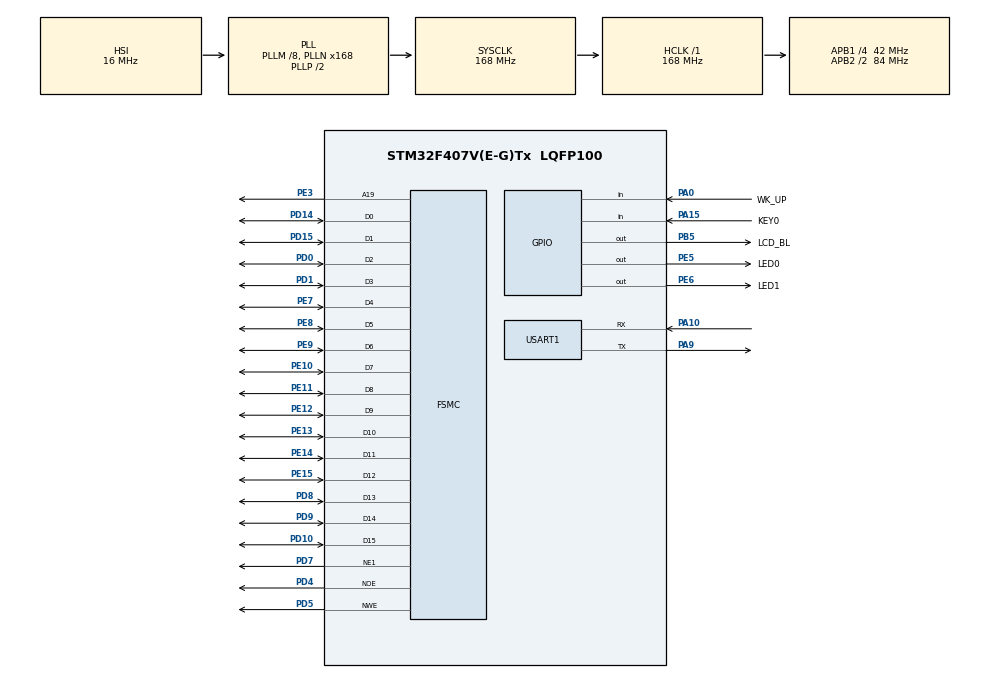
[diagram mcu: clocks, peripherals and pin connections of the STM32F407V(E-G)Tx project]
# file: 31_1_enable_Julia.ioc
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FSMC.AddressSetupTime1=15
FSMC.BusTurnAroundDuration1=0
FSMC.DataSetupTime1=60
FSMC.ExtendedAddressSetupTime1=9
FSMC.ExtendedDataSetupTime1=9
FSMC.ExtendedMode1=FSMC_EXTENDED_MODE_ENABLE
Mcu.Family=STM32F4
Mcu.Name=STM32F407V(E-G)Tx
Mcu.Package=LQFP100
NVIC.PriorityGroup=NVIC_PRIORITYGROUP_2
NVIC.TIM6_DAC_IRQn=true\:2\:1\:true\:false\:true\:true\:true\:true
NVIC.USART1_IRQn=true\:2\:2\:true\:false\:true\:true\:true\:true
PA0-WKUP.GPIO_Label=WK_UP
PA0-WKUP.GPIO_PuPd=GPIO_PULLDOWN
PA0-WKUP.Signal=GPIO_Input
PA10.Mode=Asynchronous
PA10.Signal=USART1_RX
PA13.Mode=Serial_Wire
PA13.Signal=SYS_JTMS-SWDIO
PA14.Mode=Serial_Wire
PA14.Signal=SYS_JTCK-SWCLK
PA15.GPIO_Label=KEY0
PA15.GPIO_PuPd=GPIO_PULLDOWN
PA15.Signal=GPIO_Input
PA9.Mode=Asynchronous
PA9.Signal=USART1_TX
PB5.GPIO_Label=LCD_BL
PB5.GPIO_PuPd=GPIO_PULLUP
PB5.GPIO_Speed=GPIO_SPEED_FREQ_HIGH
PB5.PinState=GPIO_PIN_SET
PB5.Signal=GPIO_Output
PC14-OSC32_IN.Mode=LSE-External-Oscillator
PC14-OSC32_IN.Signal=RCC_OSC32_IN
PC15-OSC32_OUT.Mode=LSE-External-Oscillator
PC15-OSC32_OUT.Signal=RCC_OSC32_OUT
PD0.Mode=16b-d1
PD0.Signal=FSMC_D2
PD1.Mode=16b-d1
PD1.Signal=FSMC_D3
PD10.Mode=16b-d1
PD10.Signal=FSMC_D15
PD14.Mode=16b-d1
PD14.Signal=FSMC_D0
PD15.Mode=16b-d1
PD15.Signal=FSMC_D1
PD4.Mode=Lcd1
PD4.Signal=FSMC_NOE
PD5.Mode=Lcd1
PD5.Signal=FSMC_NWE
PD7.Mode=NorPsramChipSelect1_1
PD7.Signal=FSMC_NE1
PD8.Mode=16b-d1
PD8.Signal=FSMC_D13
PD9.Mode=16b-d1
PD9.Signal=FSMC_D14
PE10.Mode=16b-d1
PE10.Signal=FSMC_D7
PE11.Mode=16b-d1
PE11.Signal=FSMC_D8
PE12.Mode=16b-d1
PE12.Signal=FSMC_D9
PE13.Mode=16b-d1
PE13.Signal=FSMC_D10
PE14.Mode=16b-d1
PE14.Signal=FSMC_D11
PE15.Mode=16b-d1
PE15.Signal=FSMC_D12
PE3.Mode=A19_1
PE3.Signal=FSMC_A19
PE5.GPIO_Label=LED0
PE5.GPIO_PuPd=GPIO_PULLUP
PE5.GPIO_Speed=GPIO_SPEED_FREQ_HIGH
PE5.PinState=GPIO_PIN_SET
PE5.Signal=GPIO_Output
PE6.GPIO_Label=LED1
PE6.GPIO_PuPd=GPIO_PULLUP
PE6.GPIO_Speed=GPIO_SPEED_FREQ_HIGH
PE6.PinState=GPIO_PIN_SET
PE6.Signal=GPIO_Output
PE7.Mode=16b-d1
PE7.Signal=FSMC_D4
PE8.Mode=16b-d1
PE8.Signal=FSMC_D5
PE9.Mode=16b-d1
PE9.Signal=FSMC_D6
PH0-OSC_IN.Mode=HSE-External-Oscillator
PH0-OSC_IN.Signal=RCC_OSC_IN
PH1-OSC_OUT.Mode=HSE-External-Oscillator
PH1-OSC_OUT.Signal=RCC_OSC_OUT
ProjectManager.HeapSize=0x200
ProjectManager.StackSize=0x400
ProjectManager.TargetToolchain=STM32CubeIDE
RCC.48MHZClocksFreq_Value=84000000
RCC.AHBFreq_Value=168000000
RCC.APB1CLKDivider=RCC_HCLK_DIV4
RCC.APB1Freq_Value=42000000
RCC.APB1TimFreq_Value=84000000
RCC.APB2CLKDivider=RCC_HCLK_DIV2
RCC.APB2Freq_Value=84000000
RCC.APB2TimFreq_Value=168000000
RCC.CortexFreq_Value=168000000
RCC.HCLKFreq_Value=168000000
RCC.HSE_VALUE=25000000
RCC.HSI_VALUE=16000000
RCC.PLLM=8
RCC.PLLN=168
RCC.SYSCLKFreq_VALUE=168000000
RCC.SYSCLKSource=RCC_SYSCLKSOURCE_PLLCLK
RCC.VCOOutputFreq_Value=336000000
TIM6.AutoReloadPreload=TIM_AUTORELOAD_PRELOAD_ENABLE
TIM6.Prescaler=8400 - 1
USART1.VirtualMode=VM_ASYNC
VP_TIM6_VS_ClockSourceINT.Mode=Enable_Timer
board=custom

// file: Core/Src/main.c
/**
 ****************************************************************************************************
 * @file        main.c
 * @author      ALIENTEK
 * @brief       enable_julia code
 * @license     Copyright (C) 2012-2024, ALIENTEK
 ****************************************************************************************************
 * @attention
 *
 * platform     : ALIENTEK M100-STM32F407 board
 * website      : www.alientek.com
 * forum        : www.openedv.com/forum.php
 *
 * change logs  :
 * version      data         notes
 * V1.0         20240409     the first version
 *
 ****************************************************************************************************
 */

 /* USER CODE BEGIN Header */

/* USER CODE END Header */
#include "main.h"
#include "tim.h"
#include "usart.h"
#include "gpio.h"
#include "fsmc.h"

/* USER CODE BEGIN Includes */
#include "../../BSP/LED/led.h"
#include "../../BSP/KEY/key.h"
#include "../../BSP/LCD/lcd.h"
/* USER CODE END Includes */

/* USER CODE BEGIN PD */

/* FPU mode prompt */
#if (__FPU_PRESENT == 1) && (__FPU_USED == 1)
#define FPU_MODE        "FPU ON"
#else
#define FPU_MODE        "FPU OFF"
#endif

#define ITERATION       128     /* Number of iterations */
#define REAL_CONSTANT   0.285f  /* Real part constant */
#define IMG_CONSTANT    0.01f   /* Imaginary constant */

/* Color table */
static uint16_t g_color_map[ITERATION];

/* List of scaling factors */
static const uint16_t zoom_ratio[] =
{
    120, 110, 100, 150, 200, 275, 350, 450,
    600, 800, 1000, 1200, 1500, 2000, 1500,
    1200, 1000, 800, 600, 450, 350, 275, 200,
    150, 100, 110,
};

uint8_t g_timeout;

extern TIM_HandleTypeDef htim6;

/**
 * @brief   Displays information about the experiment
 * @param   None
 * @retval  None
 */
void stm32f407vg_show_mesg(void)
{
	/* The serial port outputs the experimental information */
	printf("\n");
	printf("********************************\r\n");
	printf("STM32F407\r\n");
	printf("TFTLCD Test\r\n");
	printf("ATOM@ALIENTEK\r\n");
	printf("********************************\r\n");
	printf("\r\n");
}
/* USER CODE END PD */

void SystemClock_Config(void);

/* USER CODE BEGIN 0 */

/**
 * @brief   初始化颜色表
 * @param   clut: 颜色表指�??
 * @retval  �??
 */
void julia_clut_init(uint16_t *clut)
{
    uint32_t i;
    uint16_t red;
    uint16_t green;
    uint16_t blue;

    for (i=0; i<ITERATION; i++)
    {
        /* 产生RGB颜色�?? */
        red = (i * 8 * 256 / ITERATION) % 256;
        green = (i * 6 * 256 / ITERATION) % 256;
        blue = (i * 4 * 256 / ITERATION) % 256;

        /* 将RGB888转换为RGB565 */
        red = red >> 3;
        red = red << 11;
        green = green >> 2;
        green = green << 5;
        blue = blue >> 3;
        clut[i] = red + green + blue;
    }
}

/**
 * @brief   产生Julia分形图形
 * @param   size_x: 屏幕X方向的尺�??
 * @param   size_y: 屏幕Y方向的尺�??
 * @param   offset_x: 屏幕X方向的偏�??
 * @param   offset_y: 屏幕Y方向的偏�??
 * @param   zoom: 缩放因子
 * @retval  �??
 */
void julia_generate_fpu(uint16_t size_x, uint16_t size_y, uint16_t offset_x, uint16_t offset_y, uint16_t zoom)
{
    uint8_t i;
    uint16_t x;
    uint16_t y;
    float tmp1;
    float tmp2;
    float num_real;
    float num_img;
    float radius;

    for (y=0; y<size_y; y++)
    {
        for (x=0; x<size_x; x++)
        {
            num_real = y - offset_y;
            num_real = num_real / zoom;
            num_img = x - offset_x;
            num_img = num_img / zoom;
            i = 0;
            radius = 0;

            while ((i < ITERATION - 1) && (radius < 4))
            {
                tmp1 = num_real * num_real;
                tmp2 = num_img * num_img;
                num_img = 2 * num_real * num_img + IMG_CONSTANT;
                num_real = tmp1 - tmp2 + REAL_CONSTANT;
                radius = tmp1 + tmp2;
                i++;
            }

            LCD->LCD_RAM = g_color_map[i];
        }
    }
}

/* USER CODE END 0 */

int main(void)
{
  /* USER CODE BEGIN 1 */
    uint8_t key;
    uint8_t zoom = 0;
    uint8_t autorun = 0;
    float time;
    char buf[50];
  /* USER CODE END 1 */

  /* MCU Configuration--------------------------------------------------------*/

  /* Reset of all peripherals, Initializes the Flash interface and the Systick. */
  HAL_Init();

  /* Configure the system clock */
  SystemClock_Config();

  /* Initialize all configured peripherals */
  MX_GPIO_Init();
  MX_USART1_UART_Init();
  MX_FSMC_Init();
  MX_TIM6_Init();
  /* USER CODE BEGIN 2 */
  lcd_init();                                         /* Initialize LCD */
  stm32f407vg_show_mesg();

  lcd_show_string(30, 50, 200, 16, 16, "STM32", RED);
  lcd_show_string(30, 70, 200, 16, 16, "FPU TEST", RED);
  lcd_show_string(30, 90, 200, 16, 16, "ATOM@ALIENTEK", RED);

  lcd_show_string(30, 110, 200, 16, 16, "KEY_UP:+", RED);
  lcd_show_string(30, 130, 200, 16, 16, "KEY0:Auto/Manul", RED);

  HAL_Delay(500);

  /* Initializes the color table */
  julia_clut_init(g_color_map);

  /* USER CODE END 2 */

  /* Infinite loop */
  /* USER CODE BEGIN WHILE */
  while (1)
  {
      key = key_scan(0);
      if (key == WKUP_PRES)
      {
          if (++zoom > (sizeof(zoom_ratio) / sizeof(uint16_t) - 1))
          {
              zoom = 0;
          }
      }
      else if (key == KEY0_PRES)
      {
          autorun = !autorun;
      }

      if (autorun != 0)
      {
          LED1(0);
          if (++zoom > (sizeof(zoom_ratio) / sizeof(uint16_t) - 1))
          {
              zoom = 0;
          }
      }
      else
      {
          LED1(1);
      }

      /* 绘图及计时准备工�?? */
      lcd_set_window(0, 0, lcddev.width, lcddev.height);
      lcd_write_ram_prepare();
      __HAL_TIM_SET_COUNTER(&htim6, 0);
      g_timeout = 0;

      /* 绘图及计算�?�时 */
      julia_generate_fpu(lcddev.width, lcddev.height, lcddev.width / 2, lcddev.height / 2, zoom_ratio[zoom]);
      time = __HAL_TIM_GET_COUNTER(&htim6) + (uint32_t)g_timeout * 0x10000;
      sprintf(buf, "%s: zoom:%d  runtime:%0.1fms\r\n", FPU_MODE, zoom_ratio[zoom], time / 10);
      lcd_show_string(5, lcddev.height - 5 - 12, lcddev.width - 5, 12, 12, buf, RED);
      printf("%s", buf);
      LED0_TOGGLE();
    /* USER CODE END WHILE */

  }
}

void SystemClock_Config(void)
{
  RCC_OscInitTypeDef RCC_OscInitStruct = {0};
  RCC_ClkInitTypeDef RCC_ClkInitStruct = {0};

  /** Configure the main internal regulator output voltage
  */
  __HAL_RCC_PWR_CLK_ENABLE();
  __HAL_PWR_VOLTAGESCALING_CONFIG(PWR_REGULATOR_VOLTAGE_SCALE1);

  /** Initializes the RCC Oscillators according to the specified parameters
  * in the RCC_OscInitTypeDef structure.
  */
  RCC_OscInitStruct.OscillatorType = RCC_OSCILLATORTYPE_HSI;
  RCC_OscInitStruct.HSIState = RCC_HSI_ON;
  RCC_OscInitStruct.HSICalibrationValue = RCC_HSICALIBRATION_DEFAULT;
  RCC_OscInitStruct.PLL.PLLState = RCC_PLL_ON;
  RCC_OscInitStruct.PLL.PLLSource = RCC_PLLSOURCE_HSI;
  RCC_OscInitStruct.PLL.PLLM = 8;
  RCC_OscInitStruct.PLL.PLLN = 168;
  RCC_OscInitStruct.PLL.PLLP = RCC_PLLP_DIV2;
  RCC_OscInitStruct.PLL.PLLQ = 4;
  if (HAL_RCC_OscConfig(&RCC_OscInitStruct) != HAL_OK)
  {
    Error_Handler();
  }

  /** Initializes the CPU, AHB and APB buses clocks
  */
  RCC_ClkInitStruct.ClockType = RCC_CLOCKTYPE_HCLK|RCC_CLOCKTYPE_SYSCLK
                              |RCC_CLOCKTYPE_PCLK1|RCC_CLOCKTYPE_PCLK2;
  RCC_ClkInitStruct.SYSCLKSource = RCC_SYSCLKSOURCE_PLLCLK;
  RCC_ClkInitStruct.AHBCLKDivider = RCC_SYSCLK_DIV1;
  RCC_ClkInitStruct.APB1CLKDivider = RCC_HCLK_DIV4;
  RCC_ClkInitStruct.APB2CLKDivider = RCC_HCLK_DIV2;

  if (HAL_RCC_ClockConfig(&RCC_ClkInitStruct, FLASH_LATENCY_5) != HAL_OK)
  {
    Error_Handler();
  }
}

void Error_Handler(void)
{
  __disable_irq();
  while (1)
  {
  }
}
